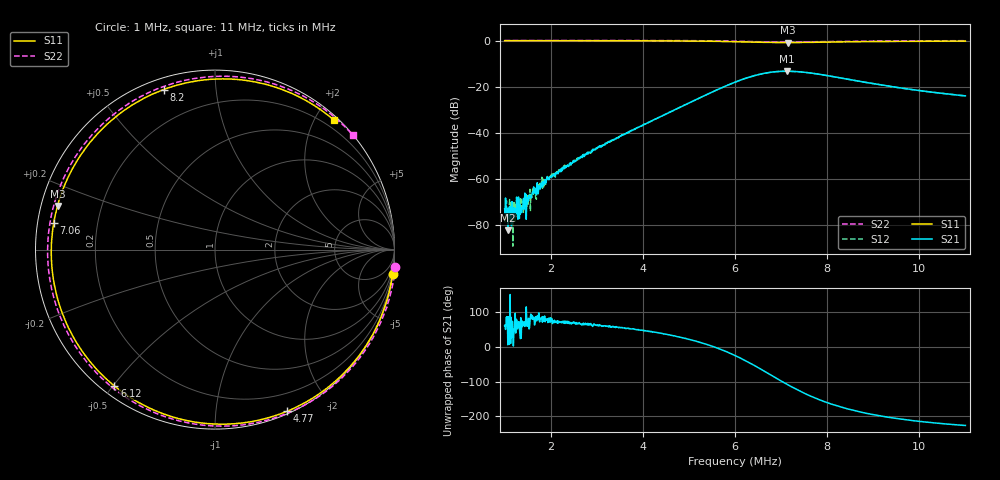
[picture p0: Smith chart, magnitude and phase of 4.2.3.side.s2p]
# MHz S DB R 50
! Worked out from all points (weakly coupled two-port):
!   1001 points, 1 MHz to 11 MHz, reference 50 ohm
!   highest |S21| = -13.25 dB at 7.13 MHz (marker M1); lowest = -82.2 dB at 1.07 MHz (marker M2)
!   lowest |S11| = -0.8 dB at 7.15 MHz (marker M3), VSWR 21.31, Z = 2.39 + j6.77 ohm
!   |S11| at or under -10 dB: nowhere
!   |S22| runs from -0.6 to 0.1 dB; largest |S21 - S12| = 0.0052
!   S11 on the Smith chart (normalised r, x): 1 MHz: 0, -14; 4.77 MHz: 0.02, -1.54; 6.12 MHz: 0.04, -0.50; 7.06 MHz: 0.05, +0.08; 8.2 MHz: 0.05, +0.73; 11 MHz: 0.06, +2.28
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1  -0.01 -7.9  -72.93 61.0  -76.37 97.7  0.09 -5.6
1.07  -0.01 -8.6  -82.24 6.2  -74.69 82.9  0.08 -6.0
1.1  -0.01 -8.8  -72.24 7.3  -71.23 87.6  0.08 -6.2
1.2  -0.01 -9.8  -74.04 41.7  -73.31 43.5  0.08 -6.9
1.26  -0.01 -10.3  -67.86 78.0  -69.19 78.4  0.08 -7.3
1.37  -0.01 -11.4  -74.59 75.9  -69.21 79.8  0.08 -8.1
1.66  -0.01 -14.2  -66.19 71.8  -63.90 82.8  0.08 -10.2
1.96  -0.01 -17.2  -59.55 82.8  -59.33 75.7  0.08 -12.4
2.67  -0.03 -25.4  -50.06 65.2  -50.34 67.1  0.07 -18.7
4.34  -0.08 -54.3  -33.36 40.6  -33.42 41.5  0.05 -41.7
4.77  -0.12 -66.0  -29.28 29.2  -29.24 30.7  0.03 -51.7
5.41  -0.25 -89.3  -23.15 6.1  -23.19 7.5  -0.06 -73.2
6  -0.45 -119.3  -18.01 -24.6  -18.02 -23.3  -0.24 -104.6
6.12  -0.50 -126.4  -17.10 -32.3  -17.11 -31.0  -0.29 -112.8
6.65  -0.73 -161.4  -14.10 -70.7  -14.11 -69.4  -0.53 -156.2
7.06  -0.81 170.5  -13.26 -102.4  -13.27 -101.0  -0.61 166.7
7.13  -0.81 165.8  -13.25 -107.6  -13.26 -106.2  -0.62 160.7
7.15  -0.82 164.5  -13.26 -109.0  -13.27 -107.7  -0.61 159.0
7.67  -0.72 133.1  -14.11 -143.0  -14.12 -141.8  -0.49 120.4
8.2  -0.57 107.8  -15.84 -168.9  -15.84 -167.6  -0.33 93.0
9.34  -0.33 72.9  -19.73 157.5  -19.74 159.0  -0.12 60.5
11  -0.18 47.3  -23.92 134.2  -23.96 135.5  -0.02 39.6
